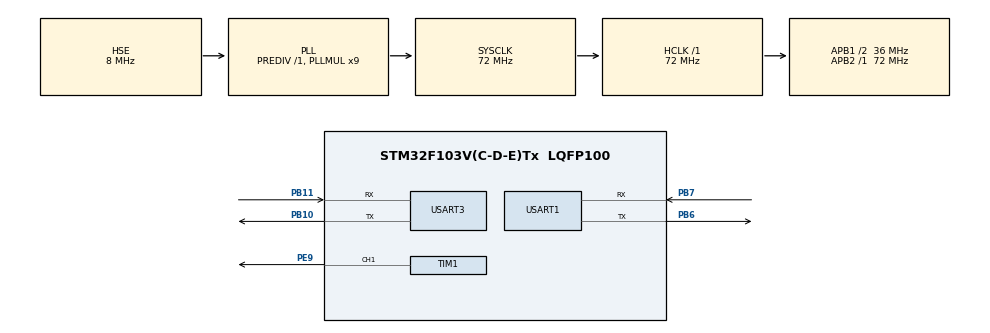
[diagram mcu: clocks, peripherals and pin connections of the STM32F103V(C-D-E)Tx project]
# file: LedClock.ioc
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Dma.Request0=TIM1_CH1
Dma.TIM1_CH1.0.Direction=DMA_MEMORY_TO_PERIPH
Dma.TIM1_CH1.0.Instance=DMA1_Channel2
Dma.TIM1_CH1.0.MemDataAlignment=DMA_MDATAALIGN_BYTE
Dma.TIM1_CH1.0.MemInc=DMA_MINC_ENABLE
Dma.TIM1_CH1.0.Mode=DMA_CIRCULAR
Dma.TIM1_CH1.0.PeriphDataAlignment=DMA_PDATAALIGN_HALFWORD
Dma.TIM1_CH1.0.PeriphInc=DMA_PINC_DISABLE
Dma.TIM1_CH1.0.Priority=DMA_PRIORITY_LOW
Mcu.Family=STM32F1
Mcu.Name=STM32F103V(C-D-E)Tx
Mcu.Package=LQFP100
NVIC.DMA1_Channel2_IRQn=true\:0\:0\:false\:false\:true\:false\:false\:true
NVIC.PriorityGroup=NVIC_PRIORITYGROUP_4
NVIC.TIM2_IRQn=true\:15\:0\:false\:false\:true\:false\:false\:true
NVIC.TimeBase=TIM2_IRQn
NVIC.TimeBaseIP=TIM2
NVIC.USART1_IRQn=true\:0\:0\:false\:false\:true\:false\:true\:true
NVIC.USART3_IRQn=true\:0\:0\:false\:false\:true\:false\:true\:true
OSC_IN.Mode=HSE-External-Oscillator
OSC_IN.Signal=RCC_OSC_IN
OSC_OUT.Mode=HSE-External-Oscillator
OSC_OUT.Signal=RCC_OSC_OUT
PA13.Mode=Serial_Wire
PA13.Signal=SYS_JTMS-SWDIO
PA14.Mode=Serial_Wire
PA14.Signal=SYS_JTCK-SWCLK
PB10.Mode=Asynchronous
PB10.Signal=USART3_TX
PB11.Mode=Asynchronous
PB11.Signal=USART3_RX
PB6.Mode=Asynchronous
PB6.Signal=USART1_TX
PB7.Mode=Asynchronous
PB7.Signal=USART1_RX
PC14-OSC32_IN.Mode=LSE-External-Oscillator
PC14-OSC32_IN.Signal=RCC_OSC32_IN
PC15-OSC32_OUT.Mode=LSE-External-Oscillator
PC15-OSC32_OUT.Signal=RCC_OSC32_OUT
PE9.Signal=S_TIM1_CH1
ProjectManager.HeapSize=0x200
ProjectManager.StackSize=0x400
ProjectManager.TargetToolchain=STM32CubeIDE
RCC.AHBFreq_Value=72000000
RCC.APB1CLKDivider=RCC_HCLK_DIV2
RCC.APB1Freq_Value=36000000
RCC.APB1TimFreq_Value=72000000
RCC.APB2Freq_Value=72000000
RCC.APB2TimFreq_Value=72000000
RCC.HCLKFreq_Value=72000000
RCC.PLLMUL=RCC_PLL_MUL9
RCC.PLLSourceVirtual=RCC_PLLSOURCE_HSE
RCC.RTCClockSelection=RCC_RTCCLKSOURCE_LSE
RCC.SYSCLKFreq_VALUE=72000000
RCC.SYSCLKSource=RCC_SYSCLKSOURCE_PLLCLK
RCC.USBFreq_Value=72000000
RealThread.RT-Thread.3.1.5.RTOSJjdevice=true
RealThread.RT-Thread.3.1.5.RTOSJjkernel=true
RealThread.RT-Thread.3.1.5.RTOSJjshell=true
RealThread.RT-Thread.3.1.5.RT_TICK_PER_SECOND=1000
RealThread.RT-Thread.3.1.5.RT_USING_DEVICE=0
RealThread.RT-Thread.3.1.5.RT_USING_EVENT=1
RealThread.RT-Thread.3.1.5.RT_USING_MAILBOX=1
RealThread.RT-Thread.3.1.5.RT_USING_MESSAGEQUEUE=1
RealThread.RT-Thread.3.1.5.RT_USING_MUTEX=1
RealThread.RT-Thread.3.1.5.RT_USING_OVERFLOW_CHECK=0
RealThread.RT-Thread.3.1.5.RT_USING_TIMER_SOFT=0
SH.S_TIM1_CH1.0=TIM1_CH1,PWM Generation1 CH1
TIM1.Channel-PWM\ Generation1\ CH1=TIM_CHANNEL_1
TIM1.Period=89
TIM1.Pulse-PWM\ Generation1\ CH1=59
USART1.VirtualMode=VM_ASYNC
USART3.VirtualMode=VM_ASYNC
VP_RTC_No_RTC_Output.Mode=RTC_OUT_NO
VP_RTC_VS_RTC_Activate.Mode=RTC_Enabled
VP_RTC_VS_RTC_Calendar.Mode=RTC_Calendar
VP_RealThread.RT-Thread_VS_RTOSJjdevice_3.1.5_3.1.5.Mode=RTOSJjdevice
VP_RealThread.RT-Thread_VS_RTOSJjkernel_3.1.5_3.1.5.Mode=RTOSJjkernel
VP_RealThread.RT-Thread_VS_RTOSJjshell_3.1.5_3.1.5.Mode=RTOSJjshell
VP_SYS_VS_tim2.Mode=TIM2
board=custom

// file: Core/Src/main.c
/* USER CODE BEGIN Header */
/**
  ******************************************************************************
  * @file           : main.c
  * @brief          : Main program body
  ******************************************************************************
  * @attention
  *
  * <h2><center>&copy; Copyright (c) 2021 STMicroelectronics.
  * All rights reserved.</center></h2>
  *
  * This software component is licensed by ST under BSD 3-Clause license,
  * the "License"; You may not use this file except in compliance with the
  * License. You may obtain a copy of the License at:
  *                        opensource.org/licenses/BSD-3-Clause
  *
  ******************************************************************************
  */
/* USER CODE END Header */
#include "main.h"
#include "dma.h"
#include "rtc.h"
#include "tim.h"
#include "usart.h"
#include "gpio.h"

/* USER CODE BEGIN Includes */
#include <rtthread.h>
#include "rtdbg.h"
#include "ws2812Matrix.h"
#include "fonts.h"
#include "easyflash.h"
#include "cJSON.h"
#include "at.h"
/* USER CODE END Includes */

/* USER CODE BEGIN PD */
#define TIME_X              10
#define TIME_Y              1
#define FRAME_PRE_SECOND    60
#define DEFAULE_TIME_COLOR  0x808080
#define MAGIC_TIME_COLOR    0xFF0000

/* USER CODE END PD */

/* USER CODE BEGIN PV */

/* 任务栈与控制块 */
ALIGN(RT_ALIGN_SIZE)
static char clockDisplayTask_stack[1024];
static struct rt_thread clockDisplayTask_tb;

ALIGN(RT_ALIGN_SIZE)
static char time_stack[4096];
static struct rt_thread time_tb;

ALIGN(RT_ALIGN_SIZE)
static char wifiCtrl_stack[1024];
static struct rt_thread wifiCtrl_tb;

ALIGN(RT_ALIGN_SIZE)
static char weather_stack[8192];
static struct rt_thread weather_tb;

/* USER CODE END PV */

void SystemClock_Config(void);

/* USER CODE BEGIN 0 */
uint8_t getBrightness(void)
{
    RTC_TimeTypeDef rtcTime;

    HAL_RTC_GetTime(&hrtc, &rtcTime, RTC_FORMAT_BCD);
    if(rtcTime.Hours >= 0x23 || rtcTime.Hours <= 0x6)
        return 10;
    else
        return 255;
}

void clockDisplayTask(int arg)
{
    int frameCount, clkNum;
    uint32_t rtcTime_u32 = 0x888888, rtcTimeLast_u32 = 0x888888;
    uint8_t digit, digitLast;
    RTC_TimeTypeDef rtcTime;
    RTC_DateTypeDef rtcDate;
    font_t font, fontLast;
    rgbPoint_u timeColor, timeColorLast;
    rgbPoint_u mixedPatternPixel[TIME_NUMBER_WIDTH*TIME_NUMBER_HIGHT];
    pattern_t mixedPattern;
    pattern_t weekDayPattern;

    rt_thread_mdelay(1000);
    takeScreenMutex();
    timeColor.color = DEFAULE_TIME_COLOR;
    getTimeFonts(10, &font);
    displayChar(TIME_X+7, TIME_Y, &font, timeColor);
    for(clkNum=0; clkNum<4; clkNum++)
    {
        /* 时间取模 */
        digit =(rtcTime_u32>>(20-4*clkNum))&0xF;
        digitLast = (rtcTimeLast_u32>>(20-4*clkNum))&0xF;
        getTimeFonts(digit, &font);
        timeColor.color = DEFAULE_TIME_COLOR;
        displayChar(clkNum>1 ? TIME_X+2+clkNum*(font.width+1) : TIME_X+clkNum*(font.width+1), TIME_Y, &font, timeColor);
    }
    releaseScreenMutex();

    while(1)
    {
        HAL_RTC_GetTime(&hrtc, &rtcTime, RTC_FORMAT_BCD);
        HAL_RTC_GetDate(&hrtc, &rtcDate, RTC_FORMAT_BCD);
        /* TODO: 因为不显示秒，后面需要注释，现在为了调试方便把秒加上每秒都可以触发断点 */
        rtcTime_u32 = rtcTime.Hours<<16 | rtcTime.Minutes<<8 /*| rtcTime.Seconds*/;
        if(rtcTime_u32 == rtcTimeLast_u32)
        {
            /* nothing to do here */
        }else
        {
            takeScreenMutex();
            for(frameCount=0; frameCount<FRAME_PRE_SECOND; frameCount++)
            {
                /* 时与分间冒号 */
                timeColor.color = DEFAULE_TIME_COLOR;
                getTimeFonts(10, &font);
                displayChar(TIME_X+7, TIME_Y, &font, timeColor);
                for(clkNum=0; clkNum<4; clkNum++)
                {
                    /* 时间取模 */
                    digit =(rtcTime_u32>>(20-4*clkNum))&0xF;
                    digitLast = (rtcTimeLast_u32>>(20-4*clkNum))&0xF;
                    if(digit != digitLast)
                    {
                        getTimeFonts(digit, &font);
                        getTimeFonts(digitLast, &fontLast);
                        timeColor.color = DEFAULE_TIME_COLOR;
                        timeColorLast.color = DEFAULE_TIME_COLOR;
                        if(frameCount < FRAME_PRE_SECOND-1)
                        {
                            mixedPattern.hight = font.hight;
                            mixedPattern.width = font.width;
                            mixedPattern.pixel = mixedPatternPixel;
                            adjustPixelBrightness(frameCount*(1.0*255/FRAME_PRE_SECOND), &timeColor, 1);
                            adjustPixelBrightness(255-(frameCount*(1.0*255/FRAME_PRE_SECOND)), &timeColorLast, 1);
                            mixChar2Pattern(&mixedPattern,
                                            &font, timeColor,
                                            &fontLast, timeColorLast);
                            displayPattern(clkNum>1 ? TIME_X+2+clkNum*(font.width+1) : TIME_X+clkNum*(font.width+1), TIME_Y, &mixedPattern);
                        }else
                        {
                            displayChar(clkNum>1 ? TIME_X+2+clkNum*(font.width+1) : TIME_X+clkNum*(font.width+1), TIME_Y, &font, timeColor);
                        }
                    }
                }
                generateWeekDayPattern(rtcDate.WeekDay ? rtcDate.WeekDay : 7, &weekDayPattern);
                displayPattern(28, 0, &weekDayPattern);
                rt_free(weekDayPattern.pixel);
                screenRefresh();
                rt_thread_mdelay((1000/FRAME_PRE_SECOND)-100);
            }
            releaseScreenMutex();
            rtcTimeLast_u32 = rtcTime_u32;
        }
        rt_thread_mdelay(100);
    }
}

void showWeather(int arg)
{
  int ret = 0, index = 0;
  pattern_t wifiPattern;
  pattern_t weatherIcon;
  pattern_t tempPattern;
  char url[256] = {0};
  char key[64] = {0};
  char location[32] = {0};
  char weatherJson[1024] = {0};
  cJSON *root = NULL;
  cJSON *nowJSON = NULL;
  cJSON *iconJSON = NULL;
  cJSON *tempJSON = NULL;

  rt_thread_mdelay(1100);
  while(1)
  {
    while(getWifiStatus() != AT_DEV_CONNECT_NET)
    {
      takeScreenMutex();
      getWifiPattern(index, &wifiPattern);
      generateTemperaturePattern(-273, &tempPattern);
      displayPattern(1, 0, &wifiPattern);
      displayPattern(9, 7, &tempPattern);
      screenRefresh();
      releaseScreenMutex();
      rt_free(wifiPattern.pixel);
      rt_free(tempPattern.pixel);
      rt_thread_mdelay(1000);
      index = index ? 0 : 1;
    }
    ret = ef_get_env_blob("wearher_key", key, sizeof(key), NULL);
    if(ret == 0)
    {
      rt_thread_mdelay(5000);
      continue;
    }

    ret = ef_get_env_blob("wearher_loc", location, sizeof(location), NULL);
    if(ret == 0)
    {
      rt_thread_mdelay(5000);
      continue;
    }
    snprintf(url, sizeof(url), "https://devapi.qweather.com/v7/weather/now?key=%s&location=%s&gzip=n", key, location);
    rt_thread_mdelay(1000);
    ret = simpleHttpGet(url, weatherJson, sizeof(weatherJson), 2000);
    if(ret <= 0)
      continue;
    root = cJSON_Parse(weatherJson);
    if(root == NULL){
      rt_kprintf("cJSON_Parse fail![%s]\n",cJSON_GetErrorPtr());
      continue;
    }
    nowJSON = cJSON_GetObjectItem(root, "now");
    if(nowJSON == NULL)
    {
        cJSON_Delete(root);
        continue;
    }
    char *weatherData = cJSON_Print(nowJSON);
    rt_kprintf("WeatherData天气数据:\n%s\n\n", weatherData);
    cJSON_free(weatherData);
    iconJSON = cJSON_GetObjectItem(nowJSON, "icon");
    tempJSON = cJSON_GetObjectItem(nowJSON, "temp");
    if (iconJSON != NULL)
    {
      char *icon = cJSON_Print(iconJSON);
      char *temp = cJSON_Print(tempJSON);
      rt_kprintf("\n\nget weather icon:%d, temperature:%d\n", atoi(icon+1), atoi(temp+1));
      getWeatherPattern(atoi(icon+1), &weatherIcon);
      generateTemperaturePattern(atoi(temp+1), &tempPattern);
      cJSON_free(icon);
      cJSON_free(temp);
      takeScreenMutex();
      displayPattern(1, 0, &weatherIcon);
      displayPattern(9, 7, &tempPattern);
      screenRefresh();
      releaseScreenMutex();
      rt_free(weatherIcon.pixel);
      rt_free(tempPattern.pixel);
    }
    cJSON_Delete(root);
    rt_thread_mdelay(20*60*1000);
  }

}

/* USER CODE END 0 */

int main(void)
{
  /* USER CODE BEGIN 1 */
    RTC_TimeTypeDef rtcTime;
    RTC_DateTypeDef rtcDate;
    cJSON_Hooks cJSONHooks = {.malloc_fn = (void * (*)(unsigned int))&rt_malloc,
                              .free_fn = &rt_free};
 goto threadInit; /* Avoid automatic generation of initialization code*/
  /* USER CODE END 1 */

  /* MCU Configuration--------------------------------------------------------*/

  /* Reset of all peripherals, Initializes the Flash interface and the Systick. */
  HAL_Init();

  /* Configure the system clock */
  SystemClock_Config();

  /* Initialize all configured peripherals */
  MX_GPIO_Init();
  MX_DMA_Init();
  MX_TIM1_Init();
  MX_RTC_Init();
  MX_USART1_UART_Init();
  MX_USART3_UART_Init();
  /* USER CODE BEGIN 2 */
threadInit:
  easyflash_init();
  cJSON_InitHooks(&cJSONHooks);
  HAL_RTC_GetDate(&hrtc, &rtcDate, RTC_FORMAT_BCD);
  HAL_RTC_GetTime(&hrtc, &rtcTime, RTC_FORMAT_BCD);
  rt_kprintf("System Start At: 20%02x/%02x/%02x  ", rtcDate.Year, rtcDate.Month, rtcDate.Date);
  rt_kprintf("%02x:%02x:%02x\n",rtcTime.Hours, rtcTime.Minutes, rtcTime.Seconds);

  matrixScreenInit(); /* 点阵屏初始化 */

  rt_thread_mdelay(1100);

  /* 时间显示线程 */
  rt_thread_init(&clockDisplayTask_tb,
                  "clk_dpy",
                  (void(*))&clockDisplayTask,
                  NULL,
                  clockDisplayTask_stack,
                  sizeof(clockDisplayTask_stack),
                  10,
                  5);
  rt_thread_startup(&clockDisplayTask_tb);

  /* 时间校准线程 */
  rt_thread_init(&time_tb,
                  "time_calibration",
                  (void(*))&timeCalibration,
                  NULL,
                  time_stack,
                  sizeof(time_stack),
                  12,
                  5);
  rt_thread_startup(&time_tb);

  /* WIFI模块控制线程 */
  rt_thread_init(&wifiCtrl_tb,
                  "wifi_ctrl",
                  (void(*))&usrAtTask,
                  NULL,
                  wifiCtrl_stack,
                  sizeof(wifiCtrl_stack),
                  30,
                  5);
  rt_thread_startup(&wifiCtrl_tb);

  /* 天气显示控制线程 */
  rt_thread_init(&weather_tb,
                  "weather",
                  (void(*))&showWeather,
                  NULL,
                  weather_stack,
                  sizeof(weather_stack),
                  29,
                  5);
  rt_thread_startup(&weather_tb);

  /* USER CODE END 2 */

  /* Infinite loop */

}

void SystemClock_Config(void)
{
  RCC_OscInitTypeDef RCC_OscInitStruct = {0};
  RCC_ClkInitTypeDef RCC_ClkInitStruct = {0};
  RCC_PeriphCLKInitTypeDef PeriphClkInit = {0};

  /** Initializes the RCC Oscillators according to the specified parameters
  * in the RCC_OscInitTypeDef structure.
  */
  RCC_OscInitStruct.OscillatorType = RCC_OSCILLATORTYPE_HSE|RCC_OSCILLATORTYPE_LSE;
  RCC_OscInitStruct.HSEState = RCC_HSE_ON;
  RCC_OscInitStruct.HSEPredivValue = RCC_HSE_PREDIV_DIV1;
  RCC_OscInitStruct.LSEState = RCC_LSE_ON;
  RCC_OscInitStruct.HSIState = RCC_HSI_ON;
  RCC_OscInitStruct.PLL.PLLState = RCC_PLL_ON;
  RCC_OscInitStruct.PLL.PLLSource = RCC_PLLSOURCE_HSE;
  RCC_OscInitStruct.PLL.PLLMUL = RCC_PLL_MUL9;
  if (HAL_RCC_OscConfig(&RCC_OscInitStruct) != HAL_OK)
  {
    Error_Handler();
  }
  /** Initializes the CPU, AHB and APB buses clocks
  */
  RCC_ClkInitStruct.ClockType = RCC_CLOCKTYPE_HCLK|RCC_CLOCKTYPE_SYSCLK
                              |RCC_CLOCKTYPE_PCLK1|RCC_CLOCKTYPE_PCLK2;
  RCC_ClkInitStruct.SYSCLKSource = RCC_SYSCLKSOURCE_PLLCLK;
  RCC_ClkInitStruct.AHBCLKDivider = RCC_SYSCLK_DIV1;
  RCC_ClkInitStruct.APB1CLKDivider = RCC_HCLK_DIV2;
  RCC_ClkInitStruct.APB2CLKDivider = RCC_HCLK_DIV1;

  if (HAL_RCC_ClockConfig(&RCC_ClkInitStruct, FLASH_LATENCY_2) != HAL_OK)
  {
    Error_Handler();
  }
  PeriphClkInit.PeriphClockSelection = RCC_PERIPHCLK_RTC;
  PeriphClkInit.RTCClockSelection = RCC_RTCCLKSOURCE_LSE;
  if (HAL_RCCEx_PeriphCLKConfig(&PeriphClkInit) != HAL_OK)
  {
    Error_Handler();
  }
}

/* USER CODE BEGIN 4 */

int showWeatherIcon(int argc, char *argv[])
{
    pattern_t weatherIcon;

    getWeatherPattern(atoi(argv[1]), &weatherIcon);
    takeScreenMutex();
    displayPattern(1, 0, &weatherIcon);
    screenRefresh();
    releaseScreenMutex();
    return 0;
}
MSH_CMD_EXPORT(showWeatherIcon, Show weather icon);

/* USER CODE END 4 */

void HAL_TIM_PeriodElapsedCallback(TIM_HandleTypeDef *htim)
{
  if (htim->Instance == TIM2) {
    HAL_IncTick();
  }
}

void Error_Handler(void)
{
  __disable_irq();
  while (1)
  {
  }
}
